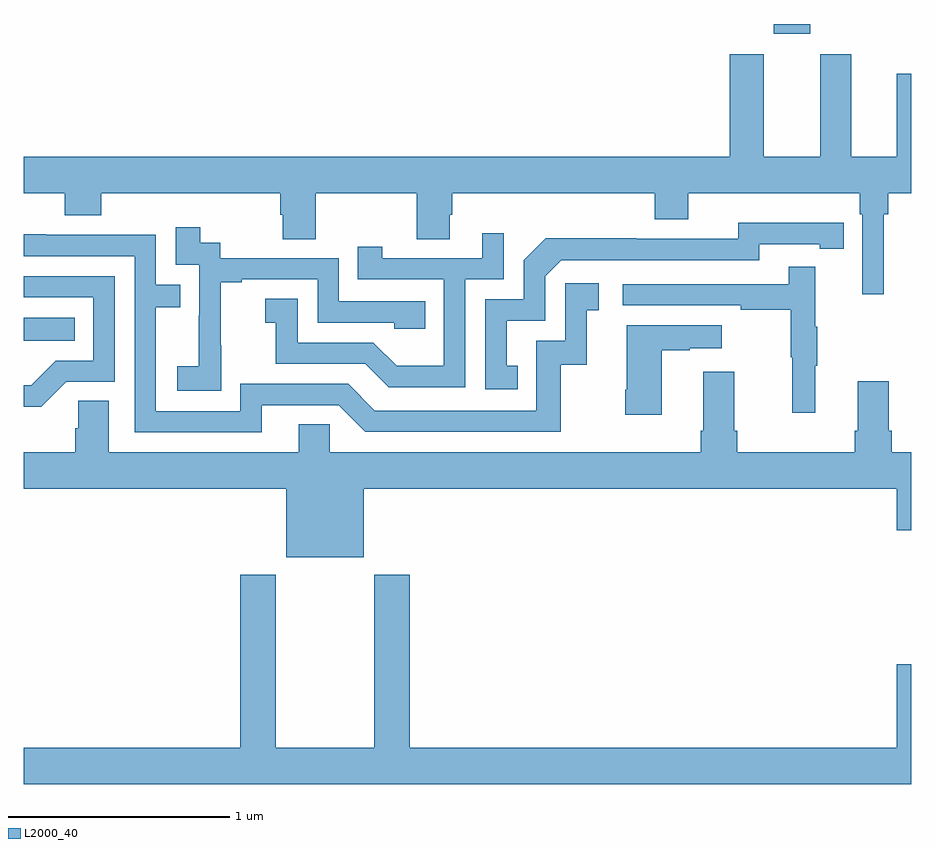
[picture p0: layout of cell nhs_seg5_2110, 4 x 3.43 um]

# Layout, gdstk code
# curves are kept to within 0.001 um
import gdstk
lib = gdstk.Library(unit=1e-6, precision=1e-09)
def R(c, l, rs):  # rectangles x0, y0, x1, y1
    for r in rs: c.add(gdstk.rectangle(r[:2], r[2:], *l))
def P(c, l, *ps):  # polygons
    for p in ps: c.add(gdstk.Polygon(p, *l))
L2000_40 = (2000, 40)

nhs_seg5_2110 = lib.new_cell('nhs_seg5_2110')
R(nhs_seg5_2110, L2000_40, [(233,913.37,233.228,913.474), (236.381,914.754,236.545,914.799)])
P(nhs_seg5_2110, L2000_40, [(236.878,913.94),(236.897,913.94),(236.897,914.036),(237,914.036),(237,914.575),(236.936,914.575),(236.936,914.2),(236.731,914.2),(236.731,914.662),(236.591,914.662),(236.591,914.2),(236.335,914.2),(236.335,914.662),(236.183,914.662),(236.183,914.2),(233,914.2),(233,914.036),(233.183,914.036),(233.183,913.937),(233.348,913.937),(233.348,914.036),(234.155,914.036),(234.155,913.938),(234.167,913.938),(234.167,913.828),(234.315,913.828),(234.315,914.036),(234.772,914.036),(234.772,913.828),(234.919,913.828),(234.919,913.938),(234.932,913.938),(234.932,914.036),(235.844,914.036),(235.844,913.919),(235.996,913.919),(235.996,914.036),(236.768,914.036),(236.768,913.94),(236.781,913.94),(236.781,913.581),(236.878,913.581)],
  [(235.226,913.257),(235.177,913.257),(235.177,913.461),(235.35,913.461),(235.35,913.662),(235.422,913.734),(236.316,913.734),(236.316,913.806),(236.588,913.806),(236.588,913.786),(236.696,913.786),(236.696,913.902),(236.22,913.903),(236.22,913.83),(235.76,913.83),(235.76,913.832),(235.352,913.832),(235.254,913.734),(235.254,913.557),(235.08,913.557),(235.08,913.152),(235.226,913.152)],
  [(233.889,913.351),(233.888,913.351),(233.888,913.635),(233.983,913.635),(233.983,913.647),(234.324,913.647),(234.324,913.452),(234.669,913.452),(234.669,913.425),(234.809,913.425),(234.809,913.548),(234.42,913.548),(234.42,913.743),(233.886,913.743),(233.886,913.812),(233.794,913.812),(233.794,913.882),(233.685,913.882),(233.685,913.713),(233.79,913.713),(233.79,913.484),(233.789,913.484),(233.789,913.255),(233.691,913.255),(233.691,913.145),(233.889,913.145)],
  [(234.99,913.647),(235.164,913.647),(235.164,913.855),(235.067,913.855),(235.067,913.743),(234.616,913.743),(234.616,913.795),(234.505,913.795),(234.505,913.647),(234.894,913.647),(234.894,913.258),(234.68,913.258),(234.576,913.362),(234.234,913.362),(234.234,913.561),(234.087,913.561),(234.087,913.451),(234.136,913.451),(234.136,913.266),(234.539,913.266),(234.644,913.161),(234.99,913.161)],
  [(234.073,913.08),(234.42,913.08),(234.54,912.96),(235.42,912.96),(235.42,913.263),(235.538,913.263),(235.538,913.509),(235.591,913.509),(235.591,913.63),(235.44,913.63),(235.44,913.371),(235.311,913.371),(235.311,913.056),(234.582,913.056),(234.462,913.176),(233.976,913.176),(233.976,913.053),(233.595,913.053),(233.595,913.522),(233.705,913.522),(233.705,913.623),(233.595,913.623),(233.595,913.848),(233.099,913.848),(233.099,913.85),(233,913.85),(233,913.752),(233.499,913.752),(233.499,912.957),(234.073,912.957)],
  [(236.567,913.259),(236.578,913.259),(236.578,913.433),(236.567,913.433),(236.567,913.705),(236.449,913.705),(236.449,913.626),(235.701,913.626),(235.701,913.53),(236.233,913.53),(236.233,913.51),(236.457,913.51),(236.457,913.296),(236.464,913.296),(236.464,913.047),(236.567,913.047)],
  [(233.19,913.185),(233.409,913.185),(233.409,913.662),(233,913.662),(233,913.566),(233.313,913.566),(233.313,913.281),(233.144,913.281),(233.033,913.17),(233,913.17),(233,913.073),(233.077,913.073)],
  [(235.876,913.327),(236.003,913.327),(236.003,913.337),(236.146,913.337),(236.146,913.441),(235.718,913.441),(235.718,913.15),(235.711,913.15),(235.711,913.038),(235.876,913.038)],
  [(234.532,912.704),(236.936,912.704),(236.936,912.516),(237,912.516),(237,912.868),(236.912,912.868),(236.912,912.964),(236.899,912.964),(236.899,913.189),(236.759,913.189),(236.759,912.964),(236.747,912.964),(236.747,912.868),(236.216,912.868),(236.216,912.964),(236.203,912.964),(236.203,913.231),(236.063,913.231),(236.063,912.964),(236.051,912.964),(236.051,912.868),(234.378,912.868),(234.378,912.995),(234.239,912.995),(234.239,912.868),(233.383,912.868),(233.383,913.1),(233.244,913.1),(233.244,912.977),(233.231,912.977),(233.231,912.868),(233,912.868),(233,912.704),(234.182,912.704),(234.182,912.395),(234.532,912.395)],
  [(237,911.911),(236.936,911.911),(236.936,911.536),(234.74,911.536),(234.74,912.316),(234.58,912.316),(234.58,911.536),(234.135,911.536),(234.135,912.316),(233.975,912.316),(233.975,911.536),(233,911.536),(233,911.372),(237,911.372)])

lib.write_gds('nhs_seg5_2110.gds')
